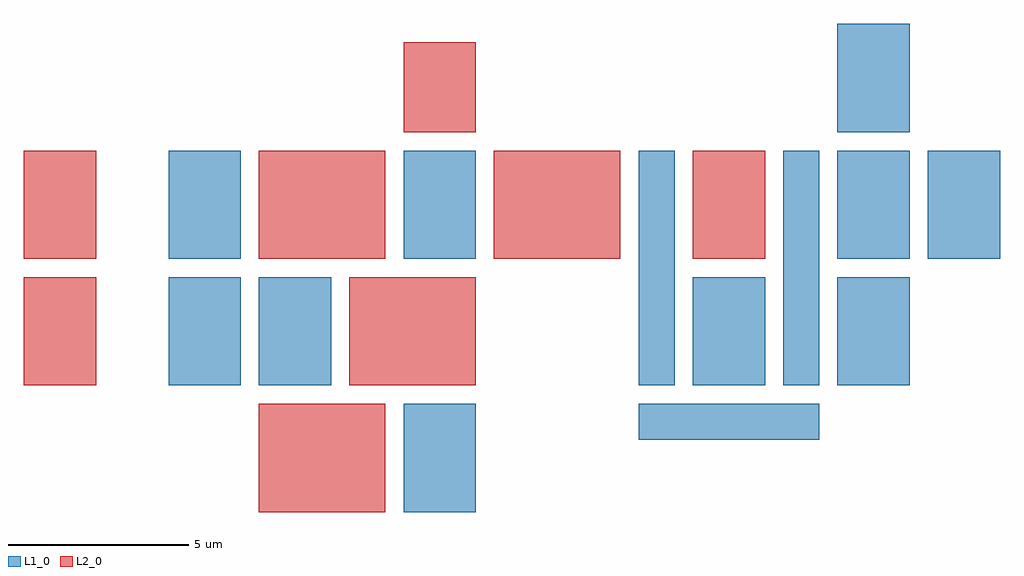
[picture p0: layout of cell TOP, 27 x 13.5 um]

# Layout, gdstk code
from math import pi, radians
import gdstk
lib = gdstk.Library(unit=1e-6, precision=1e-09)
def R(c, l, rs):  # rectangles x0, y0, x1, y1
    for r in rs: c.add(gdstk.rectangle(r[:2], r[2:], *l))
L1_0 = (1, 0)
L2_0 = (2, 0)

child = lib.new_cell('CHILD')
R(child, L1_0, [(1,0,3,3)])
R(child, L2_0, [(-3,0,-1,3)])

c_a = lib.new_cell('A')
c_a.add(gdstk.Reference(child, (3,0)))
c_a.add(gdstk.Reference(child, (3,3.5)))

top = lib.new_cell('TOP')
R(top, L1_0, [(7.5,-1.5,12.5,-0.5), (7.5,0,8.5,6.5), (9,0,11,3), (11.5,0,12.5,6.5), (13,0,15,3), (15.5,3.5,17.5,6.5), (13,7,15,10)])
R(top, L2_0, [(-1,-3.5,0.5,-0.5), (-0.5,0,1,3), (-1,3.5,0.5,6.5), (3.5,3.5,7,6.5), (1,7,3,9.5)])
top.add(gdstk.Reference(child, (0,-3.5)))
top.add(gdstk.Reference(child, (0,0), rotation=pi, x_reflection=True))
top.add(gdstk.Reference(child, (0,3.5)))
top.add(gdstk.Reference(child, (12,3.5)))
top.add(gdstk.Reference(c_a, (-9.5,0)))

lib.write_gds('TOP.gds')
